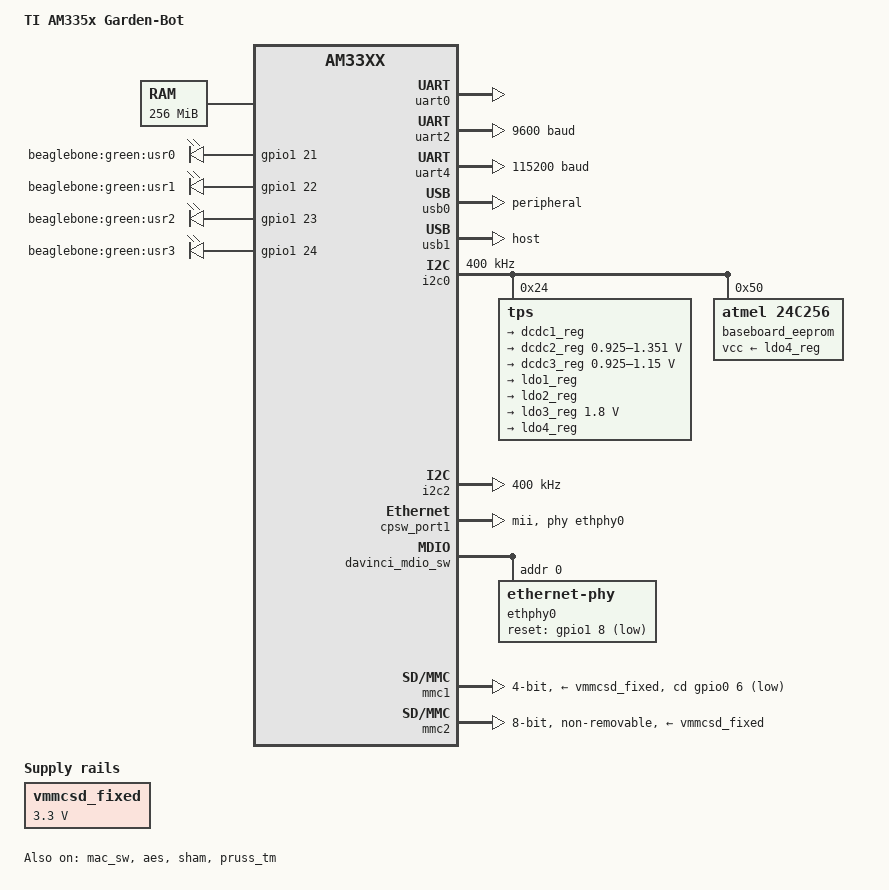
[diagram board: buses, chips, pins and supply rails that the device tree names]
// SPDX-License-Identifier: GPL-2.0-only
/*
 * Copyright (C) 2012 Texas Instruments Incorporated - https://www.ti.com/
 */
/dts-v1/;

#include "/home/odin/linux-buildroot/buildroot-2024.08-rc3/output/build/linux-custom/arch/arm/boot/dts/ti/omap/am33xx.dtsi"
#include "/home/odin/linux-buildroot/buildroot-2024.08-rc3/output/build/linux-custom/arch/arm/boot/dts/ti/omap/am335x-bbb-bone-buses.dtsi"



/ {
	model = "TI AM335x Garden-Bot";
	compatible = "ti,am335x-bone-black", "ti,am335x-bone", "ti,am33xx";

	chosen {
		base_dtb = "am335x-garden-bot.dts";
        stdout-path = &uart0;
		base_dtb_timestamp = __TIMESTAMP__;
	};

	cpus {
		cpu@0 {
			cpu0-supply = <&dcdc2_reg>;
		};
	};

	memory@80000000 {
		device_type = "memory";
		reg = <0x80000000 0x10000000>; /* 256 MB */
	};

	chosen {
		stdout-path = &uart0;
	};

	leds {
		pinctrl-names = "default";
		pinctrl-0 = <&user_leds_s0>;

		compatible = "gpio-leds";

		led2 {
			label = "beaglebone:green:usr0";
			gpios = <&gpio1 21 GPIO_ACTIVE_HIGH>;
			linux,default-trigger = "heartbeat";
			default-state = "off";
		};

		led3 {
			label = "beaglebone:green:usr1";
			gpios = <&gpio1 22 GPIO_ACTIVE_HIGH>;
			linux,default-trigger = "mmc0";
			default-state = "off";
		};

		led4 {
			label = "beaglebone:green:usr2";
			gpios = <&gpio1 23 GPIO_ACTIVE_HIGH>;
			linux,default-trigger = "cpu0";
			default-state = "off";
		};

		led5 {
			label = "beaglebone:green:usr3";
			gpios = <&gpio1 24 GPIO_ACTIVE_HIGH>;
			linux,default-trigger = "mmc1";
			default-state = "off";
		};
	};

	vmmcsd_fixed: fixedregulator0 {
		compatible = "regulator-fixed";
		regulator-name = "vmmcsd_fixed";
		regulator-min-microvolt = <3300000>;
		regulator-max-microvolt = <3300000>;
	};
};

&cpu0_opp_table {
	/*
	 * All PG 2.0 silicon may not support 1GHz but some of the early
	 * BeagleBone Blacks have PG 2.0 silicon which is guaranteed
	 * to support 1GHz OPP so enable it for PG 2.0 on this board.
	 */
	opp-1000000000 {
		/* OPP Nitro */
		opp-supported-hw = <0x06 0x0100>;
	};
};

&gpio0 {
	gpio-line-names =
		"[mdio_data]",
		"[mdio_clk]",
		"P9_22 [spi0_sclk]",
		"P9_21 [spi0_d0]",
		"P9_18 [spi0_d1]",
		"P9_17 [spi0_cs0]",
		"[mmc0_cd]",
		"P9_42A [ecappwm0]",
		"P8_35 [lcd d12]",
		"P8_33 [lcd d13]",
		"P8_31 [lcd d14]",
		"P8_32 [lcd d15]",
		"P9_20 [i2c2_sda]",
		"P9_19 [i2c2_scl]",
		"P9_26 [uart1_rxd]",
		"P9_24 [uart1_txd]",
		"[rmii1_txd3]",
		"[rmii1_txd2]",
		"[usb0_drvvbus]",
		"[hdmi cec]",
		"P9_41B",
		"[rmii1_txd1]",
		"P8_19 [ehrpwm2a]",
		"P8_13 [ehrpwm2b]",
		"NC",
		"NC",
		"P8_14",
		"P8_17",
		"[rmii1_txd0]",
		"[rmii1_refclk]",
		"P9_11 [uart4_rxd]",
		"P9_13 [uart4_txd]";
};

&gpio1 {
	gpio-line-names =
		"P8_25 [mmc1_dat0]",
		"[mmc1_dat1]",
		"P8_5 [mmc1_dat2]",
		"P8_6 [mmc1_dat3]",
		"P8_23 [mmc1_dat4]",
		"P8_22 [mmc1_dat5]",
		"P8_3 [mmc1_dat6]",
		"P8_4 [mmc1_dat7]",
		"NC",
		"NC",
		"NC",
		"NC",
		"P8_12",
		"P8_11",
		"P8_16",
		"P8_15",
		"P9_15A",
		"P9_23",
		"P9_14 [ehrpwm1a]",
		"P9_16 [ehrpwm1b]",
		"[emmc rst]",
		"[usr0 led]",
		"[usr1 led]",
		"[usr2 led]",
		"[usr3 led]",
		"[hdmi irq]",
		"[usb vbus oc]",
		"[hdmi audio]",
		"P9_12",
		"P8_26",
		"P8_21 [emmc]",
		"P8_20 [emmc]";
};

&gpio2 {
	gpio-line-names =
		"P9_15B",
		"P8_18",
		"P8_7",
		"P8_8",
		"P8_10",
		"P8_9",
		"P8_45 [hdmi]",
		"P8_46 [hdmi]",
		"P8_43 [hdmi]",
		"P8_44 [hdmi]",
		"P8_41 [hdmi]",
		"P8_42 [hdmi]",
		"P8_39 [hdmi]",
		"P8_40 [hdmi]",
		"P8_37 [hdmi]",
		"P8_38 [hdmi]",
		"P8_36 [hdmi]",
		"P8_34 [hdmi]",
		"[rmii1_rxd3]",
		"[rmii1_rxd2]",
		"[rmii1_rxd1]",
		"[rmii1_rxd0]",
		"P8_27 [hdmi]",
		"P8_29 [hdmi]",
		"P8_28 [hdmi]",
		"P8_30 [hdmi]",
		"[mmc0_dat3]",
		"[mmc0_dat2]",
		"[mmc0_dat1]",
		"[mmc0_dat0]",
		"[mmc0_clk]",
		"[mmc0_cmd]";
};

&gpio3 {
	gpio-line-names =
		"[mii col]",
		"[mii crs]",
		"[mii rx err]",
		"[mii tx en]",
		"[mii rx dv]",
		"[i2c0 sda]",
		"[i2c0 scl]",
		"[jtag emu0]",
		"[jtag emu1]",
		"[mii tx clk]",
		"[mii rx clk]",
		"NC",
		"NC",
		"[usb vbus en]",
		"P9_31 [spi1_sclk]",
		"P9_29 [spi1_d0]",
		"P9_30 [spi1_d1]",
		"P9_28 [spi1_cs0]",
		"P9_42B [ecappwm0]",
		"P9_27",
		"P9_41A",
		"P9_25",
		"NC",
		"NC",
		"NC",
		"NC",
		"NC",
		"NC",
		"NC",
		"NC",
		"NC",
		"NC";
};

&am33xx_pinmux {
	user_leds_s0: user-leds-s0-pins {
		pinctrl-single,pins = <
			AM33XX_PADCONF(AM335X_PIN_GPMC_A5, PIN_OUTPUT_PULLDOWN, MUX_MODE7)	/* gpmc_a5.gpio1_21 */
			AM33XX_PADCONF(AM335X_PIN_GPMC_A6, PIN_OUTPUT_PULLUP, MUX_MODE7)	/* gpmc_a6.gpio1_22 */
			AM33XX_PADCONF(AM335X_PIN_GPMC_A7, PIN_OUTPUT_PULLDOWN, MUX_MODE7)	/* gpmc_a7.gpio1_23 */
			AM33XX_PADCONF(AM335X_PIN_GPMC_A8, PIN_OUTPUT_PULLUP, MUX_MODE7)	/* gpmc_a8.gpio1_24 */
		>;
	};

	i2c0_pins: i2c0-pins {
		pinctrl-single,pins = <
			AM33XX_PADCONF(AM335X_PIN_I2C0_SDA, PIN_INPUT_PULLUP, MUX_MODE0)	/* i2c0_sda.i2c0_sda */
			AM33XX_PADCONF(AM335X_PIN_I2C0_SCL, PIN_INPUT_PULLUP, MUX_MODE0)	/* i2c0_scl.i2c0_scl */
		>;
	};

	device_i2c2_pins: device-i2c2-pins {
		pinctrl-single,pins = <
			AM33XX_PADCONF(AM335X_PIN_UART1_CTSN, PIN_INPUT_PULLUP, MUX_MODE3)	/* i2c2_sda.i2c2_sda */
			AM33XX_PADCONF(AM335X_PIN_UART1_RTSN, PIN_INPUT_PULLUP, MUX_MODE3)	/* i2c2_scl.i2c2_scl */
		>;
	};

	uart0_pins: uart0-pins {
		pinctrl-single,pins = <
			AM33XX_PADCONF(AM335X_PIN_UART0_RXD, PIN_INPUT_PULLUP, MUX_MODE0)
			AM33XX_PADCONF(AM335X_PIN_UART0_TXD, PIN_OUTPUT_PULLDOWN, MUX_MODE0)
		>;
	};

	uart2_pins: uart2-pins {
		pinctrl-single,pins = <
			AM33XX_PADCONF(AM335X_PIN_SPI0_SCLK, PIN_INPUT_PULLUP, MUX_MODE1)
			AM33XX_PADCONF(AM335X_PIN_SPI0_D0, PIN_OUTPUT_PULLDOWN, MUX_MODE1)
		>;
	};

	rs485_uart4_pins: rs485-uart4-pins {
		pinctrl-single,pins = <
			AM33XX_PADCONF(AM335X_PIN_GPMC_WPN, PIN_OUTPUT, MUX_MODE6)	/* P9_13 gpmc_wpn.uart4_txd_mux2 */
			AM33XX_PADCONF(AM335X_PIN_GPMC_WAIT0, PIN_INPUT, MUX_MODE6)	/* P9_13 gpmc_wait0.uart4_rxd_mux2 */
		>;
	};

	cpsw_default: cpsw-default-pins {
		pinctrl-single,pins = <
			/* Slave 1 */
			AM33XX_PADCONF(AM335X_PIN_MII1_RX_ER, PIN_INPUT_PULLUP, MUX_MODE0)
			AM33XX_PADCONF(AM335X_PIN_MII1_TX_EN, PIN_OUTPUT_PULLDOWN, MUX_MODE0)
			AM33XX_PADCONF(AM335X_PIN_MII1_RX_DV, PIN_INPUT_PULLUP, MUX_MODE0)
			AM33XX_PADCONF(AM335X_PIN_MII1_TXD3, PIN_OUTPUT_PULLDOWN, MUX_MODE0)
			AM33XX_PADCONF(AM335X_PIN_MII1_TXD2, PIN_OUTPUT_PULLDOWN, MUX_MODE0)
			AM33XX_PADCONF(AM335X_PIN_MII1_TXD1, PIN_OUTPUT_PULLDOWN, MUX_MODE0)
			AM33XX_PADCONF(AM335X_PIN_MII1_TXD0, PIN_OUTPUT_PULLDOWN, MUX_MODE0)
			AM33XX_PADCONF(AM335X_PIN_MII1_TX_CLK, PIN_INPUT_PULLUP, MUX_MODE0)
			AM33XX_PADCONF(AM335X_PIN_MII1_RX_CLK, PIN_INPUT_PULLUP, MUX_MODE0)
			AM33XX_PADCONF(AM335X_PIN_MII1_RXD3, PIN_INPUT_PULLUP, MUX_MODE0)
			AM33XX_PADCONF(AM335X_PIN_MII1_RXD2, PIN_INPUT_PULLUP, MUX_MODE0)
			AM33XX_PADCONF(AM335X_PIN_MII1_RXD1, PIN_INPUT_PULLUP, MUX_MODE0)
			AM33XX_PADCONF(AM335X_PIN_MII1_RXD0, PIN_INPUT_PULLUP, MUX_MODE0)
		>;
	};

	cpsw_sleep: cpsw-sleep-pins {
		pinctrl-single,pins = <
			/* Slave 1 reset value */
			AM33XX_PADCONF(AM335X_PIN_MII1_RX_ER, PIN_INPUT_PULLDOWN, MUX_MODE7)
			AM33XX_PADCONF(AM335X_PIN_MII1_TX_EN, PIN_INPUT_PULLDOWN, MUX_MODE7)
			AM33XX_PADCONF(AM335X_PIN_MII1_RX_DV, PIN_INPUT_PULLDOWN, MUX_MODE7)
			AM33XX_PADCONF(AM335X_PIN_MII1_TXD3, PIN_INPUT_PULLDOWN, MUX_MODE7)
			AM33XX_PADCONF(AM335X_PIN_MII1_TXD2, PIN_INPUT_PULLDOWN, MUX_MODE7)
			AM33XX_PADCONF(AM335X_PIN_MII1_TXD1, PIN_INPUT_PULLDOWN, MUX_MODE7)
			AM33XX_PADCONF(AM335X_PIN_MII1_TXD0, PIN_INPUT_PULLDOWN, MUX_MODE7)
			AM33XX_PADCONF(AM335X_PIN_MII1_TX_CLK, PIN_INPUT_PULLDOWN, MUX_MODE7)
			AM33XX_PADCONF(AM335X_PIN_MII1_RX_CLK, PIN_INPUT_PULLDOWN, MUX_MODE7)
			AM33XX_PADCONF(AM335X_PIN_MII1_RXD3, PIN_INPUT_PULLDOWN, MUX_MODE7)
			AM33XX_PADCONF(AM335X_PIN_MII1_RXD2, PIN_INPUT_PULLDOWN, MUX_MODE7)
			AM33XX_PADCONF(AM335X_PIN_MII1_RXD1, PIN_INPUT_PULLDOWN, MUX_MODE7)
			AM33XX_PADCONF(AM335X_PIN_MII1_RXD0, PIN_INPUT_PULLDOWN, MUX_MODE7)
		>;
	};

	davinci_mdio_default: davinci-mdio-default-pins {
		pinctrl-single,pins = <
			/* MDIO */
			AM33XX_PADCONF(AM335X_PIN_MDIO, PIN_INPUT_PULLUP | SLEWCTRL_FAST, MUX_MODE0)
			AM33XX_PADCONF(AM335X_PIN_MDC, PIN_OUTPUT_PULLUP, MUX_MODE0)
			/* Added to support GPIO controlled PHY reset */
			AM33XX_PADCONF(AM335X_PIN_UART0_CTSN, PIN_OUTPUT_PULLUP, MUX_MODE7)
		>;
	};

	davinci_mdio_sleep: davinci-mdio-sleep-pins {
		pinctrl-single,pins = <
			/* MDIO reset value */
			AM33XX_PADCONF(AM335X_PIN_MDIO, PIN_INPUT_PULLDOWN, MUX_MODE7)
			AM33XX_PADCONF(AM335X_PIN_MDC, PIN_INPUT_PULLDOWN, MUX_MODE7)
			/* Added to support GPIO controlled PHY reset */
			AM33XX_PADCONF(AM335X_PIN_UART0_CTSN, PIN_INPUT_PULLDOWN, MUX_MODE7)
		>;
	};

	mmc1_pins: mmc1-pins {
		pinctrl-single,pins = <
			AM33XX_PADCONF(AM335X_PIN_SPI0_CS1, PIN_INPUT, MUX_MODE7)		/* spio0_cs1.gpio0_6 */
			AM33XX_PADCONF(AM335X_PIN_MMC0_DAT0, PIN_INPUT_PULLUP, MUX_MODE0)
			AM33XX_PADCONF(AM335X_PIN_MMC0_DAT1, PIN_INPUT_PULLUP, MUX_MODE0)
			AM33XX_PADCONF(AM335X_PIN_MMC0_DAT2, PIN_INPUT_PULLUP, MUX_MODE0)
			AM33XX_PADCONF(AM335X_PIN_MMC0_DAT3, PIN_INPUT_PULLUP, MUX_MODE0)
			AM33XX_PADCONF(AM335X_PIN_MMC0_CMD, PIN_INPUT_PULLUP, MUX_MODE0)
			AM33XX_PADCONF(AM335X_PIN_MMC0_CLK, PIN_INPUT_PULLUP, MUX_MODE0)
		>;
	};

	emmc_pins: emmc-pins {
		pinctrl-single,pins = <
			AM33XX_PADCONF(AM335X_PIN_GPMC_CSN1, PIN_INPUT_PULLUP, MUX_MODE2) /* gpmc_csn1.mmc1_clk */
			AM33XX_PADCONF(AM335X_PIN_GPMC_CSN2, PIN_INPUT_PULLUP, MUX_MODE2) /* gpmc_csn2.mmc1_cmd */
			AM33XX_PADCONF(AM335X_PIN_GPMC_AD0, PIN_INPUT_PULLUP, MUX_MODE1) /* gpmc_ad0.mmc1_dat0 */
			AM33XX_PADCONF(AM335X_PIN_GPMC_AD1, PIN_INPUT_PULLUP, MUX_MODE1) /* gpmc_ad1.mmc1_dat1 */
			AM33XX_PADCONF(AM335X_PIN_GPMC_AD2, PIN_INPUT_PULLUP, MUX_MODE1) /* gpmc_ad2.mmc1_dat2 */
			AM33XX_PADCONF(AM335X_PIN_GPMC_AD3, PIN_INPUT_PULLUP, MUX_MODE1) /* gpmc_ad3.mmc1_dat3 */
			AM33XX_PADCONF(AM335X_PIN_GPMC_AD4, PIN_INPUT_PULLUP, MUX_MODE1) /* gpmc_ad4.mmc1_dat4 */
			AM33XX_PADCONF(AM335X_PIN_GPMC_AD5, PIN_INPUT_PULLUP, MUX_MODE1) /* gpmc_ad5.mmc1_dat5 */
			AM33XX_PADCONF(AM335X_PIN_GPMC_AD6, PIN_INPUT_PULLUP, MUX_MODE1) /* gpmc_ad6.mmc1_dat6 */
			AM33XX_PADCONF(AM335X_PIN_GPMC_AD7, PIN_INPUT_PULLUP, MUX_MODE1) /* gpmc_ad7.mmc1_dat7 */
		>;
	};
};

&uart0 {
	status = "okay";
	symlink = "bone/uart/0";

	pinctrl-names = "default";
	pinctrl-0 = <&uart0_pins>;
};

&uart2 {
	status = "okay";
	symlink = "bone/uart/2";

	pinctrl-names = "default";
	pinctrl-0 = <&uart2_pins>;
    dmas = <&edma 30 0>, <&edma 31 0>;
    dma-names = "tx", "rx";
    current-speed = <9600>;
};

&uart4 {
	/* sudo agetty 115200 ttyS4 */
	status = "okay";
	symlink = "bone/uart/4";

	pinctrl-names = "default";
	pinctrl-0 = <&rs485_uart4_pins>;
    dmas = <&edma 32 0>, <&edma 33 0>;
    dma-names = "tx", "rx";
    current-speed = <115200>;
	rs485-rts-delay = <0 0>;
	rts-gpio = <&gpio3 19 1>; /*  GPIO_ACTIVE_HIGH>; */
	rs485-rts-active-high;
	linux,rs485-enabled-at-boot-time;
};

&usb0 {
    status = "okay";

	dr_mode = "peripheral";
	interrupts-extended = <&intc 18 &tps 0>;
	interrupt-names = "mc", "vbus";
};

&usb1 {
    status = "okay";

	dr_mode = "host";
};

&i2c0 {
	status = "okay";
	symlink = "bone/i2c/0";

	clock-frequency = <400000>;
	pinctrl-names = "default";
	pinctrl-0 = <&i2c0_pins>;

	tps: tps@24 {
		reg = <0x24>;
	};

	baseboard_eeprom: baseboard_eeprom@50 {
		compatible = "atmel,24c256";
		reg = <0x50>;
		vcc-supply = <&ldo4_reg>;

		#address-cells = <1>;
		#size-cells = <1>;
		baseboard_data: baseboard_data@0 {
			reg = <0 0x100>;
		};
	};
};

&i2c2 {
	status = "okay";
	symlink = "bone/i2c/2";

	clock-frequency = <400000>;
	pinctrl-names = "default";
	pinctrl-0 = <&device_i2c2_pins>;

    // All user defined sensor or other devices that use I2C goes here
};

&baseboard_eeprom {
    status = "okay";
	vcc-supply = <&ldo4_reg>;
};

/include/ "/home/odin/linux-buildroot/buildroot-2024.08-rc3/output/build/linux-custom/arch/arm/boot/dts/tps65217.dtsi"

&tps {
	/*
	 * Configure pmic to enter OFF-state instead of SLEEP-state ("RTC-only
	 * mode") at poweroff.  Most BeagleBone versions do not support RTC-only
	 * mode and risk hardware damage if this mode is entered.
	 *
	 * For details, see linux-omap mailing list May 2015 thread
	 *	[PATCH] ARM: dts: am335x-bone* enable pmic-shutdown-controller
	 * In particular, messages:
	 *	https://www.spinics.net/lists/linux-omap/msg118585.html
	 *	https://www.spinics.net/lists/linux-omap/msg118615.html
	 *
	 * You can override this later with
	 *	&tps {  /delete-property/ ti,pmic-shutdown-controller;  }
	 * if you want to use RTC-only mode and made sure you are not affected
	 * by the hardware problems. (Tip: double-check by performing a current
	 * measurement after shutdown: it should be less than 1 mA.)
	 */

	interrupts = <7>; /* NMI */
	interrupt-parent = <&intc>;

	ti,pmic-shutdown-controller;

	charger {
		status = "okay";
	};

	pwrbutton {
		status = "okay";
	};

	regulators {
		dcdc1_reg: regulator@0 {
			regulator-name = "vdds_dpr";
			regulator-always-on;
		};

		dcdc2_reg: regulator@1 {
			/* VDD_MPU voltage limits 0.95V - 1.26V with +/-4% tolerance */
			regulator-name = "vdd_mpu";
			regulator-min-microvolt = <925000>;
			regulator-max-microvolt = <1351500>;
			regulator-boot-on;
			regulator-always-on;
		};

		dcdc3_reg: regulator@2 {
			/* VDD_CORE voltage limits 0.95V - 1.1V with +/-4% tolerance */
			regulator-name = "vdd_core";
			regulator-min-microvolt = <925000>;
			regulator-max-microvolt = <1150000>;
			regulator-boot-on;
			regulator-always-on;
		};

		ldo1_reg: regulator@3 {
			regulator-name = "vio,vrtc,vdds";
			regulator-always-on;
		};

		ldo2_reg: regulator@4 {
			regulator-name = "vdd_3v3aux";
			regulator-always-on;
		};

		ldo3_reg: regulator@5 {
			regulator-name = "vdd_1v8";
			regulator-always-on;
		};

		ldo4_reg: regulator@6 {
			regulator-name = "vdd_3v3a";
			regulator-always-on;
		};
	};
};

&cpsw_port1 {
	phy-handle = <&ethphy0>;
	phy-mode = "mii";
	ti,dual-emac-pvid = <1>;
};

&cpsw_port2 {
	status = "disabled";
};

&mac_sw {
	pinctrl-names = "default", "sleep";
	pinctrl-0 = <&cpsw_default>;
	pinctrl-1 = <&cpsw_sleep>;
	status = "okay";
};

&davinci_mdio_sw {
	pinctrl-names = "default", "sleep";
	pinctrl-0 = <&davinci_mdio_default>;
	pinctrl-1 = <&davinci_mdio_sleep>;

	ethphy0: ethernet-phy@0 {
		reg = <0>;
		/* Support GPIO reset on revision C3 boards */
		reset-gpios = <&gpio1 8 GPIO_ACTIVE_LOW>;
		reset-assert-us = <300>;
		reset-deassert-us = <6500>;
	};
};

&mmc1 {
	status = "okay";
	bus-width = <0x4>;
	pinctrl-names = "default";
	pinctrl-0 = <&mmc1_pins>;
	cd-gpios = <&gpio0 6 GPIO_ACTIVE_LOW>;
	vmmc-supply = <&vmmcsd_fixed>;
};

&aes {
	status = "okay";
};

&ldo3_reg {
	regulator-min-microvolt = <1800000>;
	regulator-max-microvolt = <1800000>;
	regulator-always-on;
};

&mmc2 {
	vmmc-supply = <&vmmcsd_fixed>;
	pinctrl-names = "default";
	pinctrl-0 = <&emmc_pins>;
	bus-width = <8>;
	status = "okay";
	non-removable;
};

&sham {
	status = "okay";
};

&rtc {
	clocks = <&clk_32768_ck>, <&clk_24mhz_clkctrl AM3_CLK_24MHZ_CLKDIV32K_CLKCTRL 0>;
	clock-names = "ext-clk", "int-clk";
	system-power-controller;
};

&pruss_tm {
	status = "okay";
};

&wkup_m3_ipc {
	firmware-name = "am335x-bone-scale-data.bin";
};

&tscadc {
	adc {
		ti,adc-channels = <0 1 2 3 4 5 6 7>;
		ti,chan-step-avg = <16 16 16 16 16 16 16 16>;
		ti,chan-step-opendelay = <0x98 0x98 0x98 0x98 0x98 0x98 0x98 0x98>;
		ti,chan-step-sampledelay = <0x0 0x0 0x0 0x0 0x0 0x0 0x0 0x0>;
	};
};
